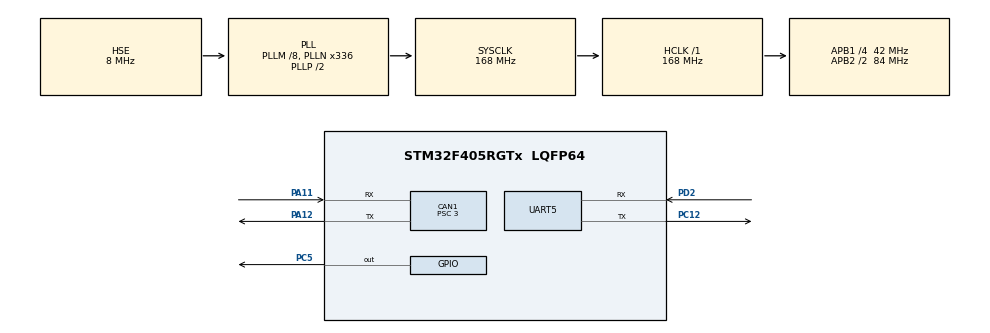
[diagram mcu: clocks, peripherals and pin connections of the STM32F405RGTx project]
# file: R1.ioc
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CAN1.ABOM=ENABLE
CAN1.BS1=CAN_BS1_9TQ
CAN1.BS2=CAN_BS2_4TQ
CAN1.CalculateBaudRate=1000000
CAN1.CalculateTimeBit=1000
CAN1.CalculateTimeQuantum=71.42857142857143
CAN1.Mode=CAN_MODE_NORMAL
CAN1.Prescaler=3
FREERTOS.Tasks01=defaultTask,24,128,StartDefaultTask,Default,NULL,Dynamic,NULL,NULL;PIDTASK,40,512,pid_taskl,Default,NULL,Dynamic,NULL,NULL
FREERTOS.configUSE_NEWLIB_REENTRANT=1
Mcu.Family=STM32F4
Mcu.Name=STM32F405RGTx
Mcu.Package=LQFP64
NVIC.CAN1_RX0_IRQn=true\:5\:0\:false\:false\:true\:true\:true\:true\:true
NVIC.CAN1_RX1_IRQn=true\:5\:0\:false\:false\:true\:true\:true\:true\:true
NVIC.CAN1_SCE_IRQn=true\:5\:0\:false\:false\:true\:true\:true\:true\:true
NVIC.CAN1_TX_IRQn=true\:5\:0\:false\:false\:true\:true\:true\:true\:true
NVIC.PriorityGroup=NVIC_PRIORITYGROUP_4
NVIC.TIM2_IRQn=true\:15\:0\:false\:false\:true\:false\:false\:true\:true
NVIC.TIM3_IRQn=true\:5\:0\:false\:false\:true\:true\:true\:true\:true
NVIC.TimeBase=TIM2_IRQn
NVIC.TimeBaseIP=TIM2
NVIC.UART5_IRQn=true\:5\:0\:false\:false\:true\:true\:true\:true\:true
PA11.Mode=CAN_Activate
PA11.Signal=CAN1_RX
PA12.Mode=CAN_Activate
PA12.Signal=CAN1_TX
PA13.Mode=Serial_Wire
PA13.Signal=SYS_JTMS-SWDIO
PA14.Mode=Serial_Wire
PA14.Signal=SYS_JTCK-SWCLK
PC12.Mode=Asynchronous
PC12.Signal=UART5_TX
PC5.GPIO_PuPd=GPIO_PULLDOWN
PC5.Signal=GPIO_Output
PD2.Mode=Asynchronous
PD2.Signal=UART5_RX
PH0-OSC_IN.Mode=HSE-External-Oscillator
PH0-OSC_IN.Signal=RCC_OSC_IN
PH1-OSC_OUT.Mode=HSE-External-Oscillator
PH1-OSC_OUT.Signal=RCC_OSC_OUT
ProjectManager.HeapSize=0x200
ProjectManager.StackSize=0x400
ProjectManager.TargetToolchain=STM32CubeIDE
RCC.48MHZClocksFreq_Value=84000000
RCC.AHBFreq_Value=168000000
RCC.APB1CLKDivider=RCC_HCLK_DIV4
RCC.APB1Freq_Value=42000000
RCC.APB1TimFreq_Value=84000000
RCC.APB2CLKDivider=RCC_HCLK_DIV2
RCC.APB2Freq_Value=84000000
RCC.APB2TimFreq_Value=168000000
RCC.CortexFreq_Value=168000000
RCC.HCLKFreq_Value=168000000
RCC.HSE_VALUE=8000000
RCC.HSI_VALUE=16000000
RCC.LSE_VALUE=32768
RCC.PLLM=8
RCC.PLLN=336
RCC.PLLSourceVirtual=RCC_PLLSOURCE_HSE
RCC.SYSCLKFreq_VALUE=168000000
RCC.SYSCLKSource=RCC_SYSCLKSOURCE_PLLCLK
RCC.VCOOutputFreq_Value=336000000
TIM3.AutoReloadPreload=TIM_AUTORELOAD_PRELOAD_ENABLE
TIM3.Period=999
TIM3.Prescaler=167
UART5.VirtualMode=Asynchronous
VP_FREERTOS_VS_CMSIS_V2.Mode=CMSIS_V2
VP_SYS_VS_tim2.Mode=TIM2
VP_TIM3_VS_ClockSourceINT.Mode=Internal
board=custom

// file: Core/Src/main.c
/* USER CODE BEGIN Header */
/**
  ******************************************************************************
  * @file           : main.c
  * @brief          : Main program body
  ******************************************************************************
  * @attention
  *
  * Copyright (c) 2024 STMicroelectronics.
  * All rights reserved.
  *
  * This software is licensed under terms that can be found in the LICENSE file
  * in the root directory of this software component.
  * If no LICENSE file comes with this software, it is provided AS-IS.
  *
  ******************************************************************************
  */
/* USER CODE END Header */
#include "main.h"
#include "cmsis_os.h"
#include "can.h"
#include "tim.h"
#include "usart.h"
#include "gpio.h"

/* USER CODE BEGIN Includes */
#include "all.h"
#include "PIDC.h"
/* USER CODE END Includes */

void SystemClock_Config(void);
void MX_FREERTOS_Init(void);

int main(void)
{

  /* MCU Configuration--------------------------------------------------------*/

  /* Reset of all peripherals, Initializes the Flash interface and the Systick. */
  HAL_Init();

  /* Configure the system clock */
  SystemClock_Config();

  /* Initialize all configured peripherals */
  MX_GPIO_Init();
  MX_CAN1_Init();
  MX_UART5_Init();
  MX_TIM3_Init();
  /* USER CODE BEGIN 2 */
  my_Init();
  PIDC_initialize();
  /* USER CODE END 2 */

  /* Init scheduler */
  osKernelInitialize();

  /* Call init function for freertos objects (in cmsis_os2.c) */
  MX_FREERTOS_Init();

  /* Start scheduler */
  osKernelStart();

  /* We should never get here as control is now taken by the scheduler */

  /* Infinite loop */
  while (1)
  {

    /* USER CODE BEGIN 3 */
      printf("Hello world!\r\n");
      HAL_Delay(1000);
  }
  /* USER CODE END 3 */
}

void SystemClock_Config(void)
{
  RCC_OscInitTypeDef RCC_OscInitStruct = {0};
  RCC_ClkInitTypeDef RCC_ClkInitStruct = {0};

  /** Configure the main internal regulator output voltage
  */
  __HAL_RCC_PWR_CLK_ENABLE();
  __HAL_PWR_VOLTAGESCALING_CONFIG(PWR_REGULATOR_VOLTAGE_SCALE1);

  /** Initializes the RCC Oscillators according to the specified parameters
  * in the RCC_OscInitTypeDef structure.
  */
  RCC_OscInitStruct.OscillatorType = RCC_OSCILLATORTYPE_HSE;
  RCC_OscInitStruct.HSEState = RCC_HSE_ON;
  RCC_OscInitStruct.PLL.PLLState = RCC_PLL_ON;
  RCC_OscInitStruct.PLL.PLLSource = RCC_PLLSOURCE_HSE;
  RCC_OscInitStruct.PLL.PLLM = 8;
  RCC_OscInitStruct.PLL.PLLN = 336;
  RCC_OscInitStruct.PLL.PLLP = RCC_PLLP_DIV2;
  RCC_OscInitStruct.PLL.PLLQ = 4;
  if (HAL_RCC_OscConfig(&RCC_OscInitStruct) != HAL_OK)
  {
    Error_Handler();
  }

  /** Initializes the CPU, AHB and APB buses clocks
  */
  RCC_ClkInitStruct.ClockType = RCC_CLOCKTYPE_HCLK|RCC_CLOCKTYPE_SYSCLK
                              |RCC_CLOCKTYPE_PCLK1|RCC_CLOCKTYPE_PCLK2;
  RCC_ClkInitStruct.SYSCLKSource = RCC_SYSCLKSOURCE_PLLCLK;
  RCC_ClkInitStruct.AHBCLKDivider = RCC_SYSCLK_DIV1;
  RCC_ClkInitStruct.APB1CLKDivider = RCC_HCLK_DIV4;
  RCC_ClkInitStruct.APB2CLKDivider = RCC_HCLK_DIV2;

  if (HAL_RCC_ClockConfig(&RCC_ClkInitStruct, FLASH_LATENCY_5) != HAL_OK)
  {
    Error_Handler();
  }
}

void Error_Handler(void)
{
  __disable_irq();
  while (1)
  {
  }
}

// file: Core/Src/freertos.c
/* USER CODE BEGIN Header */
/**
  ******************************************************************************
  * File Name          : freertos.c
  * Description        : Code for freertos applications
  ******************************************************************************
  * @attention
  *
  * Copyright (c) 2024 STMicroelectronics.
  * All rights reserved.
  *
  * This software is licensed under terms that can be found in the LICENSE file
  * in the root directory of this software component.
  * If no LICENSE file comes with this software, it is provided AS-IS.
  *
  ******************************************************************************
  */
/* USER CODE END Header */

#include "FreeRTOS.h"
#include "task.h"
#include "main.h"
#include "cmsis_os.h"

/* USER CODE BEGIN Includes */
#include "all.h"
#include "pid_task.h"
/* USER CODE END Includes */

/* USER CODE BEGIN Variables */
xTaskHandle g_uart_tx_task_handle;
xTaskHandle g_pid_task_handle;

SemaphoreHandle_t g_UART_RX_Semaphore;
SemaphoreHandle_t g_SemaphoreHandle_For_Pid;
/* USER CODE END Variables */
/* Definitions for defaultTask */
osThreadId_t defaultTaskHandle;
const osThreadAttr_t defaultTask_attributes = {
  .name = "defaultTask",
  .stack_size = 128 * 4,
  .priority = (osPriority_t) osPriorityNormal,
};
/* Definitions for PIDTASK */
osThreadId_t PIDTASKHandle;
const osThreadAttr_t PIDTASK_attributes = {
  .name = "PIDTASK",
  .stack_size = 512 * 4,
  .priority = (osPriority_t) osPriorityHigh,
};

void StartDefaultTask(void *argument);
void pid_taskl(void *argument);

void MX_FREERTOS_Init(void); /* (MISRA C 2004 rule 8.1) */

void MX_FREERTOS_Init(void) {

  /* USER CODE BEGIN RTOS_SEMAPHORES */
  /* add semaphores, ... */
  g_UART_RX_Semaphore = xSemaphoreCreateBinary();
  g_SemaphoreHandle_For_Pid = xSemaphoreCreateBinary();
  /* USER CODE END RTOS_SEMAPHORES */

  /* Create the thread(s) */
  /* creation of defaultTask */
  defaultTaskHandle = osThreadNew(StartDefaultTask, NULL, &defaultTask_attributes);

  /* creation of PIDTASK */
  PIDTASKHandle = osThreadNew(pid_taskl, NULL, &PIDTASK_attributes);

  /* USER CODE BEGIN RTOS_THREADS */
  /* add threads, ... */
    xTaskCreate(uart_tx_task, "UART_TX_Task", 128, NULL, osPriorityNormal, &g_uart_tx_task_handle);
    xTaskCreate(uart_rx_task, "UART_RX_Task", 128, NULL, osPriorityNormal+2, &g_uart_tx_task_handle);
  // xTaskCreate(pid_task, "PID_Task", 512, NULL, osPriorityHigh, &g_pid_task_handle);
  /* USER CODE END RTOS_THREADS */

}

void StartDefaultTask(void *argument)
{
  for(;;)
  {
    osDelay(1);
  }
}

void pid_taskl(void *argument)
{
  /* USER CODE BEGIN pid_taskl */
  portTickType CurrentTime_PID;

  /* Infinite loop */
  for(;;)
  {
    CurrentTime_PID=xTaskGetTickCount();

    pidc_task();
    vTaskDelayUntil(&CurrentTime_PID,5);
  }
  /* USER CODE END pid_taskl */
}
